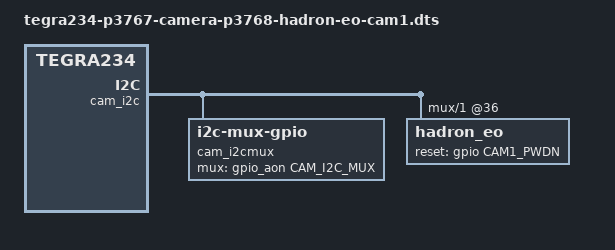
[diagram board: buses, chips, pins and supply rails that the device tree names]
// SPDX-License-Identifier: GPL-2.0-only
// SPDX-FileCopyrightText: Copyright (c) 2026, ARK Electronics.

/*
 * FLIR Hadron EO (OV64B40) on JAJ CAM1 (J25), 4-lane:
 * CSI2_CLK with CSI2_D0/D1 then CSI3_D0/D1.
 * I2C mux channel 1, reset CAM1_PWDN (PAC.00).
 */

/dts-v1/;
/plugin/;

#define CAM1_PWDN	TEGRA234_MAIN_GPIO(AC, 0)
#define CAM_I2C_MUX	TEGRA234_AON_GPIO(CC, 3)

#define HADRON_EO_PORT_INDEX	2
#define HADRON_EO_LANES		4
#define HADRON_EO_SINTERFACE	"serial_c"
#define HADRON_EO_LANE_POLARITY	"0"
#define HADRON_EO_SENSOR_SYSFS	"/sys/firmware/devicetree/base/bus@0/cam_i2cmux/i2c@1/hadron_eo@36"

#include <dt-bindings/tegra234-p3767-0000-common.h>
#include "tegra234-camera-hadron-eo.dtsi"

/ {
	overlay-name = "Camera FLIR Hadron EO CAM1 4-lane";
	jetson-header-name = "Jetson 22pin CSI Connector";
	compatible = JETSON_COMPATIBLE_P3768;

	fragment-hadron-eo-i2c@0 {
		target-path = "/";
		__overlay__ {
			bus@0 {
				cam_i2cmux {
					status = "okay";
					compatible = "i2c-mux-gpio";
					#address-cells = <1>;
					#size-cells = <0>;
					i2c-parent = <&cam_i2c>;
					mux-gpios = <&gpio_aon CAM_I2C_MUX GPIO_ACTIVE_HIGH>;
					i2c@0 {
						status = "okay";
						reg = <0>;
						#address-cells = <1>;
						#size-cells = <0>;
						/* the flash-time IMX219 default */
						rbpcv2_imx219_a@10 {
							status = "disabled";
						};
					};
					i2c@1 {
						status = "okay";
						reg = <1>;
						#address-cells = <1>;
						#size-cells = <0>;
						rbpcv2_imx219_c@10 {
							status = "disabled";
						};
						hadron_eo@36 {
							status = "okay";
							reset-gpios = <&gpio CAM1_PWDN GPIO_ACTIVE_HIGH>;
#include "tegra234-camera-hadron-eo-sensor.dtsi"
						};
					};
				};
			};
		};
	};
};
